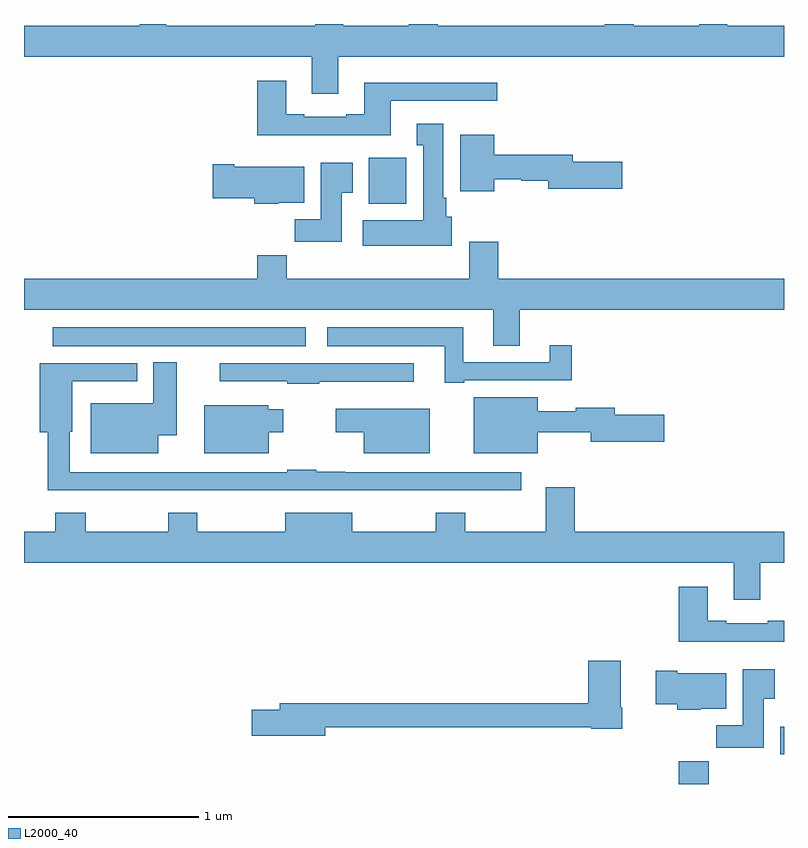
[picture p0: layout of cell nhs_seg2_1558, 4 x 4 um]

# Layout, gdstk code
import gdstk
lib = gdstk.Library(unit=1e-6, precision=1e-09)
def R(c, l, rs):  # rectangles x0, y0, x1, y1
    for r in rs: c.add(gdstk.rectangle(r[:2], r[2:], *l))
def P(c, l, *ps):  # polygons
    for p in ps: c.add(gdstk.Polygon(p, *l))
L2000_40 = (2000, 40)

nhs_seg2_1558 = lib.new_cell('nhs_seg2_1558')
R(nhs_seg2_1558, L2000_40, [(194.447,651.8,194.603,651.92), (194.981,651.956,195,652.102), (191.151,654.104,192.484,654.205), (192.815,654.854,193.012,655.096)])
P(nhs_seg2_1558, L2000_40, [(192.655,655.628),(195,655.628),(195,655.792),(194.701,655.792),(194.701,655.8),(194.554,655.8),(194.554,655.792),(194.209,655.792),(194.209,655.8),(194.057,655.8),(194.057,655.792),(193.178,655.792),(193.178,655.8),(193.025,655.8),(193.025,655.792),(192.681,655.792),(192.681,655.8),(192.533,655.8),(192.533,655.792),(191.749,655.792),(191.749,655.8),(191.609,655.8),(191.609,655.792),(191,655.792),(191,655.628),(192.515,655.628),(192.515,655.434),(192.655,655.434)],
  [(192.931,655.395),(193.492,655.395),(193.492,655.492),(192.791,655.492),(192.791,655.324),(192.695,655.324),(192.695,655.311),(192.475,655.311),(192.475,655.324),(192.379,655.324),(192.379,655.501),(192.227,655.501),(192.227,655.214),(192.931,655.214)],
  [(193.252,654.786),(193.222,654.786),(193.222,654.886),(193.207,654.886),(193.207,655.276),(193.067,655.276),(193.067,655.163),(193.1,655.163),(193.1,654.766),(192.783,654.766),(192.783,654.632),(193.252,654.632)],
  [(193.474,654.984),(193.617,654.984),(193.617,654.976),(193.76,654.976),(193.76,654.934),(194.149,654.934),(194.149,655.076),(193.888,655.076),(193.888,655.112),(193.474,655.112),(193.474,655.216),(193.295,655.216),(193.295,654.92),(193.474,654.92)],
  [(192.673,654.913),(192.73,654.913),(192.73,655.069),(192.563,655.069),(192.563,654.772),(192.424,654.772),(192.424,654.654),(192.673,654.654)],
  [(192.342,654.86),(192.475,654.86),(192.475,655.048),(192.106,655.048),(192.106,655.061),(191.994,655.061),(191.994,654.883),(192.212,654.883),(192.212,654.854),(192.342,654.854)],
  [(193.609,654.296),(195,654.296),(195,654.46),(193.496,654.46),(193.496,654.655),(193.343,654.655),(193.343,654.46),(192.383,654.46),(192.383,654.584),(192.227,654.584),(192.227,654.46),(191,654.46),(191,654.296),(193.469,654.296),(193.469,654.106),(193.609,654.106)],
  [(193.318,653.925),(193.883,653.925),(193.883,654.109),(193.766,654.109),(193.766,654.021),(193.312,654.021),(193.312,654.205),(192.597,654.205),(192.597,654.104),(193.214,654.104),(193.214,653.913),(193.318,653.913)],
  [(191.707,653.636),(191.803,653.636),(191.803,654.019),(191.681,654.019),(191.681,653.803),(191.351,653.803),(191.351,653.54),(191.707,653.54)],
  [(191.669,653.346),(192.001,653.346),(192.001,653.345),(192.278,653.345),(192.278,653.346),(192.823,653.346),(192.823,653.345),(193.079,653.345),(193.079,653.346),(193.618,653.346),(193.618,653.442),(192.692,653.442),(192.692,653.444),(192.539,653.444),(192.539,653.455),(192.385,653.455),(192.385,653.442),(191.241,653.442),(191.241,653.655),(191.254,653.655),(191.254,653.919),(191.596,653.919),(191.596,654.015),(191.084,654.015),(191.084,653.651),(191.125,653.651),(191.125,653.346),(191.413,653.346),(191.413,653.345),(191.669,653.345)],
  [(192.554,653.918),(193.051,653.918),(193.051,654.015),(192.03,654.015),(192.03,653.919),(192.385,653.919),(192.385,653.907),(192.554,653.907)],
  [(193.705,653.652),(193.982,653.652),(193.982,653.602),(194.371,653.602),(194.371,653.744),(194.11,653.744),(194.11,653.78),(193.904,653.78),(193.904,653.761),(193.705,653.761),(193.705,653.836),(193.367,653.836),(193.367,653.54),(193.705,653.54)],
  [(192.289,653.651),(192.364,653.651),(192.364,653.773),(192.285,653.773),(192.285,653.794),(191.948,653.794),(191.948,653.54),(192.289,653.54)],
  [(193.135,653.776),(192.642,653.776),(192.642,653.651),(192.788,653.651),(192.788,653.54),(193.135,653.54)],
  [(194.875,652.964),(195,652.964),(195,653.128),(193.898,653.128),(193.898,653.362),(193.745,653.362),(193.745,653.128),(193.323,653.128),(193.323,653.227),(193.168,653.227),(193.168,653.128),(192.727,653.128),(192.727,653.227),(192.374,653.227),(192.374,653.128),(191.913,653.128),(191.913,653.227),(191.758,653.227),(191.758,653.128),(191.325,653.128),(191.325,653.227),(191.165,653.227),(191.165,653.128),(191,653.128),(191,652.964),(194.735,652.964),(194.735,652.77),(194.875,652.77)],
  [(195,652.66),(194.915,652.66),(194.915,652.647),(194.695,652.647),(194.695,652.66),(194.599,652.66),(194.599,652.837),(194.447,652.837),(194.447,652.55),(195,652.55)],
  [(192.586,652.098),(193.986,652.098),(193.986,652.09),(194.148,652.09),(194.148,652.201),(194.14,652.201),(194.14,652.45),(193.97,652.45),(193.97,652.226),(192.347,652.226),(192.347,652.19),(192.198,652.19),(192.198,652.055),(192.586,652.055)],
  [(194.893,652.249),(194.95,652.249),(194.95,652.405),(194.783,652.405),(194.783,652.108),(194.644,652.108),(194.644,651.99),(194.893,651.99)],
  [(194.562,652.196),(194.695,652.196),(194.695,652.384),(194.437,652.384),(194.437,652.397),(194.325,652.397),(194.325,652.219),(194.437,652.219),(194.437,652.19),(194.562,652.19)])

lib.write_gds('nhs_seg2_1558.gds')
